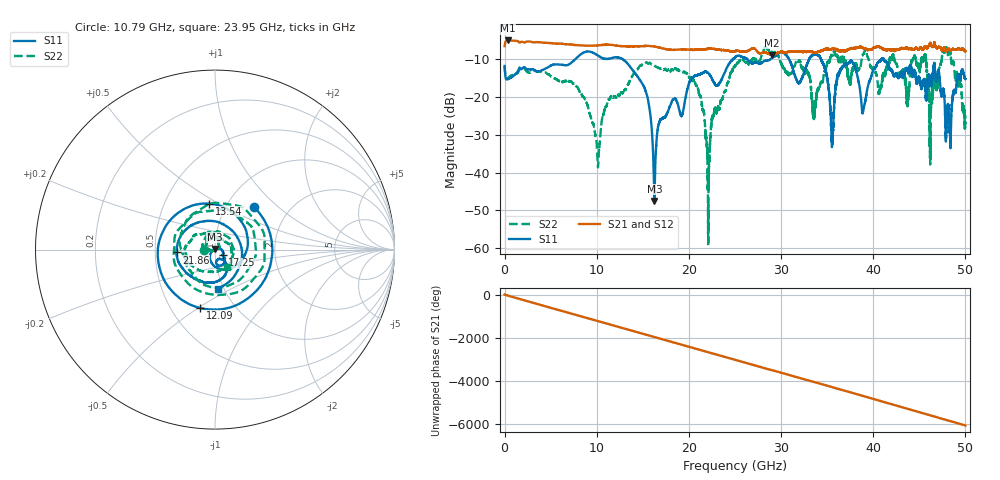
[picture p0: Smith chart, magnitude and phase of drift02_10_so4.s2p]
!Created with skrf (http://scikit-rf.org).
# Hz S RI R 50.0
!freq ReS11 ImS11 ReS21 ImS21 ReS12 ImS12 ReS22 ImS22
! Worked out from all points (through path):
!   10001 points, 300 kHz to 50 GHz, reference 50 ohm
!   highest |S21| = -5.04 dB at 325.3 MHz (marker M1); lowest = -8.9 dB at 28.98 GHz (marker M2)
!   group delay of S21, straight-line fit = 336 ps
!   lowest |S11| = -47.5 dB at 16.25 GHz (marker M3), VSWR 1.01, Z = 49.8 + j0.374 ohm
!   |S11| at or under -10 dB: start of sweep to 7.667 GHz; 12.82 GHz to 24.77 GHz (11.95 GHz wide, 63.6 % of centre); 41.13 GHz to end of sweep (the widest 3 of 11)
!   |S22| runs from -59.5 to -6.8 dB; largest |S21 - S12| = 0.033
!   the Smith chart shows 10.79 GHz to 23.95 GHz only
!   S11 on the Smith chart (normalised r, x): 10.79 GHz: 1.34, +0.71; 12.09 GHz: 0.69, -0.51; 13.54 GHz: 0.82, +0.45; 17.25 GHz: 1.09, -0.07; 21.86 GHz: 0.65, -0.02; 23.95 GHz: 0.94, -0.43
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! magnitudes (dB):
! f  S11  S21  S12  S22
! 300 kHz  -11.8  -6.5  -6.5  -11.7
! 325.3 MHz  -15.4  -5.0  -5.0  -15.1
! 8.335 GHz  -8.6  -6.4  -6.4  -19.2
! 10.11 GHz  -9.0  -6.4  -6.3  -37.4
! 10.79 GHz  -9.9  -6.2  -6.2  -23.9
! 12.09 GHz  -9.5  -6.4  -6.4  -20.1
! 13.54 GHz  -11.8  -6.6  -6.6  -15.9
! 16.25 GHz  -47.5  -6.6  -6.6  -11.6
! 16.67 GHz  -27.6  -6.8  -6.8  -12.2
! 17.25 GHz  -25.5  -7.2  -7.2  -12.8
! 20.73 GHz  -14.3  -7.5  -7.5  -16.7
! 21.86 GHz  -13.4  -7.3  -7.3  -31.3
! 23.95 GHz  -13.2  -7.6  -7.6  -18.5
! 25 GHz  -9.5  -7.8  -7.9  -11.8
! 28.98 GHz  -9.7  -8.9  -8.8  -8.1
! 33.34 GHz  -9.1  -8.0  -8.0  -20.3
! 35.54 GHz  -32.4  -7.3  -7.3  -9.0
! 36.78 GHz  -11.9  -7.9  -7.9  -10.0
! 41.67 GHz  -11.9  -7.4  -7.5  -11.9
! 46.25 GHz  -17.1  -6.1  -6.1  -22.9
! 48.12 GHz  -22.0  -7.2  -7.2  -8.6
! 50 GHz  -15.3  -7.9  -7.9  -24.8
